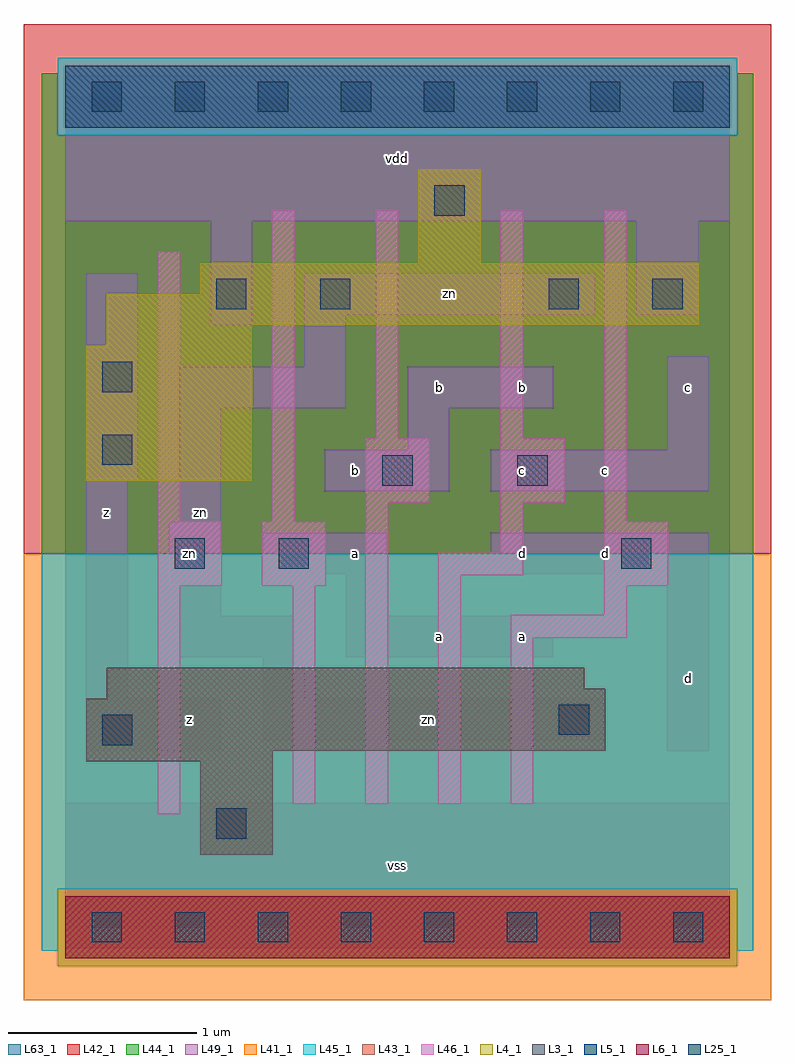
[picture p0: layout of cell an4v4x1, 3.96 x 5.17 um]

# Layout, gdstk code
import gdstk
lib = gdstk.Library(unit=1e-6, precision=1e-09)
def R(c, l, rs):  # rectangles x0, y0, x1, y1
    for r in rs: c.add(gdstk.rectangle(r[:2], r[2:], *l))
def A(c, l, x, y, w, h, nx, ny, dx, dy):  # array of equal rectangles
    R(c, l, [(x+i*dx, y+j*dy, x+i*dx+w, y+j*dy+h) for i in range(nx) for j in range(ny)])
L3_1 = (3, 1)
L4_1 = (4, 1)
L5_1 = (5, 1)
L6_1 = (6, 1)
L25_1 = (25, 1)
L41_1 = (41, 1)
L42_1 = (42, 1)
L43_1 = (43, 1)
L44_1 = (44, 1)
L45_1 = (45, 1)
L46_1 = (46, 1)
L49_1 = (49, 1)
L63_1 = (63, 1)

an4v4x1 = lib.new_cell('an4v4x1')
R(an4v4x1, L3_1, [(0.715,0.385,1.1,0.88), (0.11,0.88,1.1,0.935), (0.11,0.935,2.86,1.21), (0.22,1.21,2.86,1.265), (0.22,1.265,2.75,1.375)])
R(an4v4x1, L4_1, [(0.11,2.365,0.99,3.08), (0.22,3.08,0.99,3.19), (0.22,3.19,3.355,3.355), (0.715,3.355,3.355,3.52), (1.87,3.52,2.2,4.015)])
R(an4v4x1, L5_1, [(0,4.235,3.52,4.565)])
R(an4v4x1, L6_1, [(0,-0.165,3.52,0.165)])
A(an4v4x1, L25_1, 0.14, -0.08, 0.16, 0.16, 8, 2, 0.44, 4.4)
R(an4v4x1, L25_1, [(0.8,0.47,0.96,0.63), (0.195,0.965,0.355,1.125), (2.615,1.02,2.775,1.18), (0.58,1.9,0.74,2.06), (1.13,1.9,1.29,2.06), (2.945,1.9,3.105,2.06), (1.68,2.34,1.84,2.5), (2.395,2.34,2.555,2.5), (0.195,2.45,0.355,2.61), (0.195,2.835,0.355,2.995), (0.8,3.275,0.96,3.435), (1.35,3.275,1.51,3.435), (2.56,3.275,2.72,3.435), (3.11,3.275,3.27,3.435), (1.955,3.77,2.115,3.93)])
R(an4v4x1, L41_1, [(-0.22,-0.385,3.74,1.98)])
R(an4v4x1, L42_1, [(-0.22,1.98,3.74,4.785)])
R(an4v4x1, L43_1, [(0,-0.165,3.52,0.165), (0.715,0.385,1.1,0.88), (0.11,0.88,1.1,0.935), (0.11,0.935,2.86,1.21), (0.22,1.21,2.86,1.265), (0.22,1.265,2.75,1.375), (0.11,2.365,0.99,3.08), (0.22,3.08,0.99,3.19), (0.22,3.19,3.355,3.355), (0.715,3.355,3.355,3.52), (1.87,3.52,2.2,4.015), (0,4.235,3.52,4.565)])
R(an4v4x1, L44_1, [(-0.04,-0.205,3.56,0.205), (-0.125,1.98,3.645,4.195), (-0.125,4.195,-0.04,4.525), (3.56,4.195,3.645,4.525)])
R(an4v4x1, L45_1, [(-0.125,-0.125,-0.04,0.205), (3.56,-0.125,3.645,0.205), (-0.125,0.205,3.645,1.98), (-0.04,4.195,3.56,4.605)])
R(an4v4x1, L46_1, [(0.49,0.6,0.61,1.81), (1.205,0.655,1.325,1.81), (1.59,0.655,1.71,2.25), (1.975,0.655,2.095,1.865), (2.36,0.655,2.48,1.535), (2.36,1.535,2.975,1.655), (2.855,1.655,2.975,1.81), (0.49,1.81,0.83,2.15), (1.04,1.81,1.38,2.15), (2.855,1.81,3.195,2.15), (1.975,1.865,2.425,1.985), (2.305,1.985,2.425,2.25), (0.49,2.15,0.61,3.58), (1.095,2.15,1.215,3.8), (2.855,2.15,2.975,3.8), (1.59,2.25,1.93,2.59), (2.305,2.25,2.645,2.59), (1.645,2.59,1.765,3.8), (2.305,2.59,2.425,3.8)])
R(an4v4x1, L49_1, [(0,-0.11,3.52,0.66), (0.11,0.935,0.825,1.21), (3.19,0.935,3.41,1.87), (1.045,0.99,2.86,1.21), (0.11,1.21,0.33,2.365), (1.045,1.21,1.265,1.43), (0.605,1.43,1.265,1.65), (1.485,1.43,2.585,1.65), (0.605,1.65,0.825,1.815), (1.485,1.65,1.705,1.87), (0.55,1.815,0.825,2.145), (1.045,1.87,1.705,2.09), (2.255,1.87,3.41,2.09), (0.605,2.145,0.825,2.75), (1.375,2.31,2.035,2.53), (2.255,2.31,3.41,2.53), (0.11,2.365,0.385,3.465), (1.815,2.53,2.035,2.75), (3.19,2.53,3.41,3.025), (0.605,2.75,1.485,2.97), (1.815,2.75,2.585,2.97), (1.265,2.97,1.485,3.245), (0.77,3.19,0.99,3.74), (1.265,3.245,2.805,3.465), (3.025,3.245,3.355,3.74), (0,3.74,3.52,4.51)])
R(an4v4x1, L63_1, [(0,0,3.52,4.4)])
an4v4x1.add(gdstk.Label('zn', (0.66,1.98), layer=49, texttype=1))
an4v4x1.add(gdstk.Label('z', (0.22,2.2), layer=49, texttype=1))
an4v4x1.add(gdstk.Label('z', (0.66,1.1), layer=49, texttype=1))
an4v4x1.add(gdstk.Label('zn', (0.715,2.2), layer=49, texttype=1))
an4v4x1.add(gdstk.Label('vss', (1.76,0.33), layer=49, texttype=1))
an4v4x1.add(gdstk.Label('a', (1.98,1.54), layer=49, texttype=1))
an4v4x1.add(gdstk.Label('a', (1.54,1.98), layer=49, texttype=1))
an4v4x1.add(gdstk.Label('b', (1.54,2.42), layer=49, texttype=1))
an4v4x1.add(gdstk.Label('b', (1.98,2.86), layer=49, texttype=1))
an4v4x1.add(gdstk.Label('vdd', (1.76,4.07), layer=49, texttype=1))
an4v4x1.add(gdstk.Label('zn', (1.925,1.1), layer=49, texttype=1))
an4v4x1.add(gdstk.Label('a', (2.42,1.54), layer=49, texttype=1))
an4v4x1.add(gdstk.Label('d', (2.42,1.98), layer=49, texttype=1))
an4v4x1.add(gdstk.Label('c', (2.42,2.42), layer=49, texttype=1))
an4v4x1.add(gdstk.Label('b', (2.42,2.86), layer=49, texttype=1))
an4v4x1.add(gdstk.Label('zn', (2.035,3.355), layer=49, texttype=1))
an4v4x1.add(gdstk.Label('d', (3.3,1.32), layer=49, texttype=1))
an4v4x1.add(gdstk.Label('d', (2.86,1.98), layer=49, texttype=1))
an4v4x1.add(gdstk.Label('c', (2.86,2.42), layer=49, texttype=1))
an4v4x1.add(gdstk.Label('c', (3.3,2.86), layer=49, texttype=1))

lib.write_gds('an4v4x1.gds')
